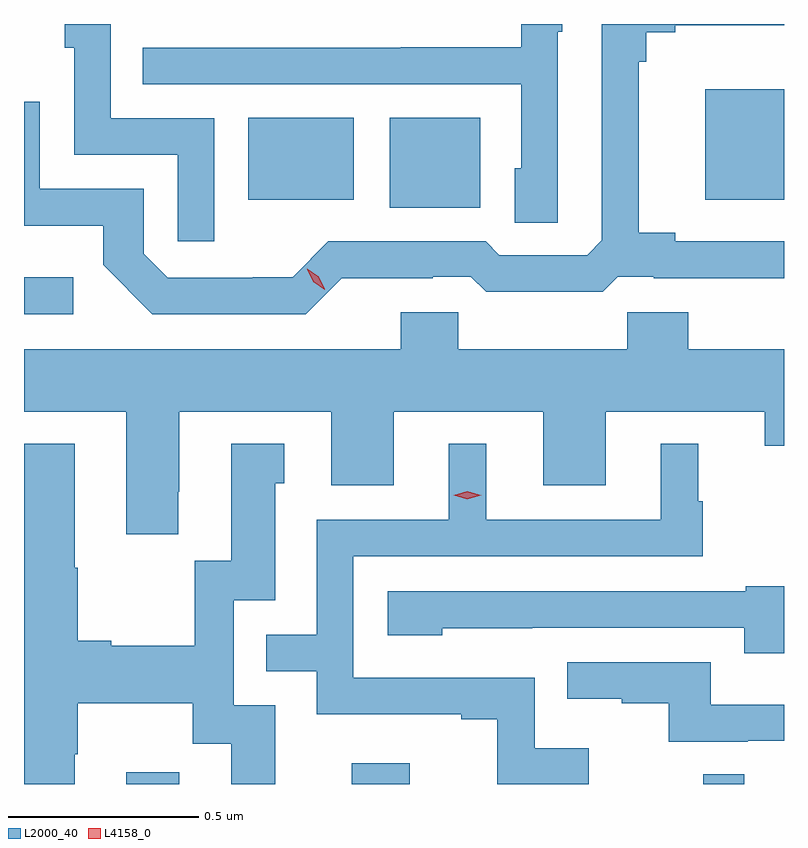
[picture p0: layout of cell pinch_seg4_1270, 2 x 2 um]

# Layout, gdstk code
import gdstk
lib = gdstk.Library(unit=1e-6, precision=1e-09)
def R(c, l, rs):  # rectangles x0, y0, x1, y1
    for r in rs: c.add(gdstk.rectangle(r[:2], r[2:], *l))
def P(c, l, *ps):  # polygons
    for p in ps: c.add(gdstk.Polygon(p, *l))
L2000_40 = (2000, 40)
L4158_0 = (4158, 0)

pinch_seg4_1270 = lib.new_cell('pinch_seg4_1270')
R(pinch_seg4_1270, L2000_40, [(145.283,814.488,145.423,814.519), (145.877,814.488,146.029,814.543), (146.802,814.488,146.91,814.514), (145.014,815.724,145.144,815.821), (145.976,816.005,146.215,816.241), (145.604,816.026,145.882,816.241), (146.807,816.026,147.014,816.316)])
P(pinch_seg4_1270, L2000_40, [(146.418,816.468),(146.431,816.468),(146.431,816.488),(146.322,816.488),(146.322,816.427),(146.005,816.427),(146.005,816.426),(145.327,816.426),(145.327,816.33),(146.322,816.33),(146.322,816.108),(146.306,816.108),(146.306,815.965),(146.418,815.965)],
  [(145.515,816.24),(145.242,816.24),(145.242,816.488),(145.121,816.488),(145.121,816.426),(145.146,816.426),(145.146,816.144),(145.419,816.144),(145.419,815.916),(145.515,815.916)],
  [(145.85,815.819),(146.09,815.819),(146.09,815.823),(146.19,815.823),(146.23,815.784),(146.537,815.784),(146.577,815.823),(146.671,815.823),(146.671,815.819),(147.014,815.819),(147.014,815.916),(146.728,815.916),(146.728,815.939),(146.632,815.939),(146.632,816.389),(146.651,816.389),(146.651,816.466),(146.728,816.466),(146.728,816.485),(147.014,816.485),(147.014,816.488),(146.535,816.488),(146.535,815.919),(146.496,815.88),(146.265,815.88),(146.229,815.916),(145.815,815.916),(145.721,815.822),(145.616,815.822),(145.616,815.82),(145.392,815.82),(145.329,815.883),(145.329,816.054),(145.056,816.054),(145.056,816.283),(145.014,816.283),(145.014,815.957),(145.222,815.957),(145.222,815.855),(145.352,815.724),(145.755,815.724)],
  [(145.42,815.257),(145.423,815.257),(145.423,815.468),(145.823,815.468),(145.823,815.274),(145.987,815.274),(145.987,815.468),(146.381,815.468),(146.381,815.274),(146.545,815.274),(146.545,815.468),(146.963,815.468),(146.963,815.378),(147.014,815.378),(147.014,815.632),(146.762,815.632),(146.762,815.73),(146.602,815.73),(146.602,815.632),(146.157,815.632),(146.157,815.73),(146.006,815.73),(146.006,815.632),(145.014,815.632),(145.014,815.468),(145.283,815.468),(145.283,815.145),(145.42,815.145)],
  [(146.5,814.582),(146.358,814.582),(146.358,814.767),(145.881,814.767),(145.881,815.088),(146.8,815.088),(146.8,815.232),(146.788,815.232),(146.788,815.383),(146.69,815.383),(146.69,815.184),(146.23,815.184),(146.23,815.383),(146.132,815.383),(146.132,815.184),(145.785,815.184),(145.785,814.881),(145.651,814.881),(145.651,814.785),(145.785,814.785),(145.785,814.671),(146.165,814.671),(146.165,814.659),(146.26,814.659),(146.26,814.488),(146.5,814.488)],
  [(145.147,814.566),(145.155,814.566),(145.155,814.7),(145.458,814.7),(145.458,814.594),(145.559,814.594),(145.559,814.488),(145.675,814.488),(145.675,814.695),(145.566,814.695),(145.566,814.971),(145.675,814.971),(145.675,815.28),(145.699,815.28),(145.699,815.383),(145.559,815.383),(145.559,815.076),(145.463,815.076),(145.463,814.852),(145.243,814.852),(145.243,814.865),(145.155,814.865),(145.155,815.057),(145.147,815.057),(145.147,815.383),(145.014,815.383),(145.014,814.488),(145.147,814.488)],
  [(147.014,815.008),(146.913,815.008),(146.913,814.995),(145.971,814.995),(145.971,814.88),(146.115,814.88),(146.115,814.898),(146.351,814.898),(146.351,814.899),(146.909,814.899),(146.909,814.832),(147.014,814.832)],
  [(146.918,814.602),(147.014,814.602),(147.014,814.697),(146.821,814.697),(146.821,814.809),(146.443,814.809),(146.443,814.712),(146.587,814.712),(146.587,814.701),(146.711,814.701),(146.711,814.599),(146.918,814.599)])
P(pinch_seg4_1270, L4158_0, [(146.181,815.238),(146.145,815.248),(146.145,815.248),(146.145,815.248),(146.181,815.258),(146.217,815.248),(146.217,815.248),(146.217,815.248)],
  [(145.806,815.789),(145.775,815.81),(145.759,815.843),(145.759,815.844),(145.759,815.844),(145.79,815.823),(145.806,815.79),(145.806,815.789)])

lib.write_gds('pinch_seg4_1270.gds')
